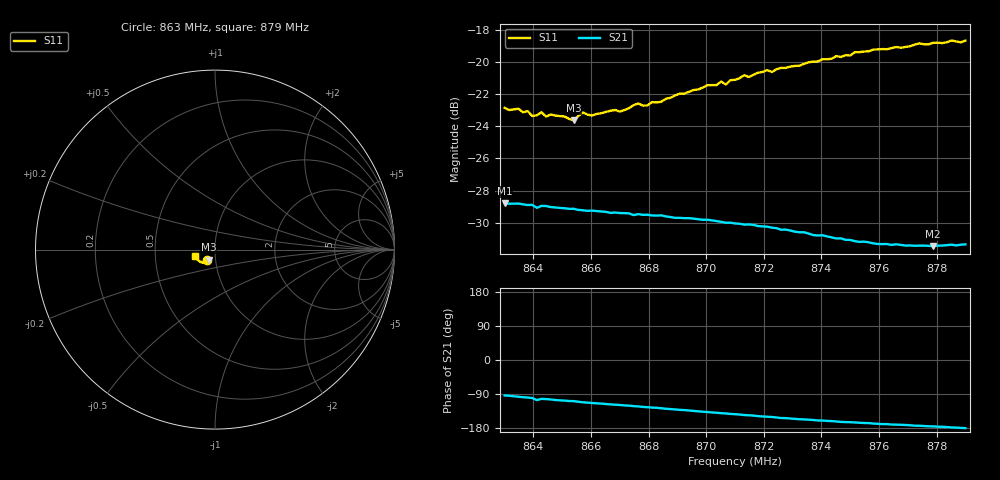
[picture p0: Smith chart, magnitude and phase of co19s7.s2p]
# HZ S RI R 50
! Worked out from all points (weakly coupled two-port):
!   101 points, 863 MHz to 879 MHz, reference 50 ohm
!   highest |S21| = -28.79 dB at 863 MHz (marker M1); lowest = -31.5 dB at 877.88 MHz (marker M2)
!   lowest |S11| = -23.6 dB at 865.4 MHz (marker M3), VSWR 1.14, Z = 46.4 - j5.21 ohm
!   |S11| at or under -10 dB: start of sweep to end of sweep
!   S12 and S22 are empty: the file has one direction only
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8.63e8  -0.0461 -0.0552  -0.00228 -0.0363  0 0  0 0
8.638e8  -0.0429 -0.0556  -0.00559 -0.0354  0 0  0 0
8.6396e8  -0.0412 -0.0539  -0.00643 -0.0353  0 0  0 0
8.6428e8  -0.0408 -0.0565  -0.00771 -0.0348  0 0  0 0
8.6444e8  -0.04 -0.0544  -0.00809 -0.0347  0 0  0 0
8.646e8  -0.0402 -0.0556  -0.00863 -0.0343  0 0  0 0
8.654e8  -0.0346 -0.0559  -0.011 -0.0331  0 0  0 0
8.6572e8  -0.0361 -0.0595  -0.0127 -0.0321  0 0  0 0
8.6604e8  -0.0362 -0.0576  -0.0137 -0.0316  0 0  0 0
8.67e8  -0.0357 -0.0602  -0.0163 -0.0297  0 0  0 0
8.6764e8  -0.0382 -0.0636  -0.0181 -0.0284  0 0  0 0
8.6796e8  -0.0364 -0.0635  -0.019 -0.0276  0 0  0 0
8.6844e8  -0.0377 -0.065  -0.0202 -0.0265  0 0  0 0
8.7004e8  -0.0449 -0.0717  -0.0237 -0.0219  0 0  0 0
8.7052e8  -0.0474 -0.0727  -0.0245 -0.0203  0 0  0 0
8.7068e8  -0.0464 -0.0712  -0.0246 -0.0199  0 0  0 0
8.71e8  -0.0497 -0.0725  -0.0251 -0.0189  0 0  0 0
8.7132e8  -0.0525 -0.0741  -0.0256 -0.0178  0 0  0 0
8.7372e8  -0.0687 -0.0727  -0.0269 -0.0107  0 0  0 0
8.7644e8  -0.0922 -0.0605  -0.0266 -0.0045  0 0  0 0
8.7788e8  -0.1037 -0.0485  -0.0266 -0.00228  0 0  0 0
8.79e8  -0.11 -0.0379  -0.0271 -7.8e-05  0 0  0 0
